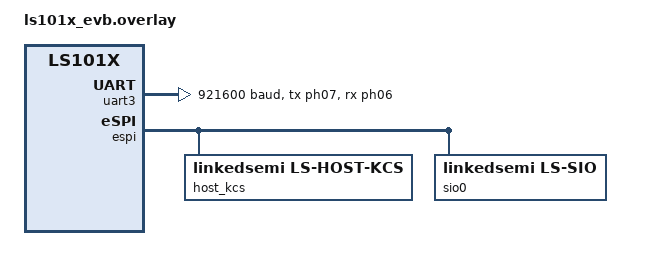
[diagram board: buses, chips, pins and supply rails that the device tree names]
/*
 * App overlay for ls101x_evb — LinkedSemi EC PoC (pin quarantine)
 *
 * Validation pin policy:
 *   KEEP:  eSPI pads (PD9 alert + PD10..PD15), console UART3 (PH6/PH7),
 *          SLP_S3# PE15 / PLTRST# PD03 as GPIO inputs
 *   DROP:  all other board DTS peripheral mux (PWM/SPI/I2C/USB/CAP/PECI/…)
 */

#include <zephyr/dt-bindings/pinctrl/ls101x-pinctrl.h>

&pinctrl {
	uart3_tx_ph07: uart3_tx_ph07 {
		pinmux = <LS_PINMUX_SET('H', 7, UART3_TXD)>;
		output-enable;
		output-high;
	};

	uart3_rx_ph06: uart3_rx_ph06 {
		pinmux = <LS_PINMUX_SET('H', 6, UART3_RXD)>;
		bias-pull-up;
		input-enable;
	};
};

&uart3 {
	pinctrl-0 = <&uart3_tx_ph07 &uart3_rx_ph06>;
	pinctrl-names = "default";
	current-speed = <921600>;
};

/* ---- Disable every board peripheral that claims pads via pinctrl ---- */
&uart1 {
	status = "disabled";
};

&uart2 {
	status = "disabled";
};

&dwuart1 {
	status = "disabled";
};

&dwuart2 {
	status = "disabled";
};

&usb {
	status = "disabled";
};

&pwm {
	status = "disabled";
};

&cap {
	status = "disabled";
};

&spi1 {
	status = "disabled";
};

&spi2 {
	status = "disabled";
};

&spi3 {
	status = "disabled";
};

&i2c1 {
	status = "disabled";
};

&i2c2 {
	status = "disabled";
};

/* Child EEPROMs stay "okay" when parent I2C is disabled → build break in eeprom_target */
&eeprom1 {
	status = "disabled";
};

&eeprom2 {
	status = "disabled";
};

&peci0 {
	status = "disabled";
};

&adc1 {
	status = "disabled";
};

&adc2 {
	status = "disabled";
};

&dac12 {
	status = "disabled";
};

&espi {
	/* Software VW shadow (writable SRAM); required by ls-espi binding */
	sysevent-base = <0x1001ffe0>;
	/*
	 * cs-gpios intentionally omitted: soft-recover path + init-priority
	 * (GPIO POST_KERNEL vs eSPI PRE_KERNEL_2).
	 */
	status = "okay";

	/*
	 * ACPI EC 0x60/0x64: Host-side IO decode. Peer lookup only sums
	 * siblings that have kcs-env-addr (SIO/other peri children are skipped).
	 * Shared SRAM env is the same address as e8042 kcs-env-addr.
	 */
	host_kcs: host-kcs {
		compatible = "linkedsemi,ls-host-kcs";
		port = <0x60 0x64>;
		kcs-env-addr = <0x1001ffc0>;
		espi_lpc = <&espi>;
		status = "okay";
	};

	/* Super I/O config index/data 0x2E/0x2F (BIOS probes this before KBC). */
	sio0: sio {
		compatible = "linkedsemi,ls-sio";
		port = <0x2e>;
		status = "okay";
	};
};

&e8042 {
	kcs-env-addr = <0x1001ffc0>;
	/delete-property/ up-irq;
};
